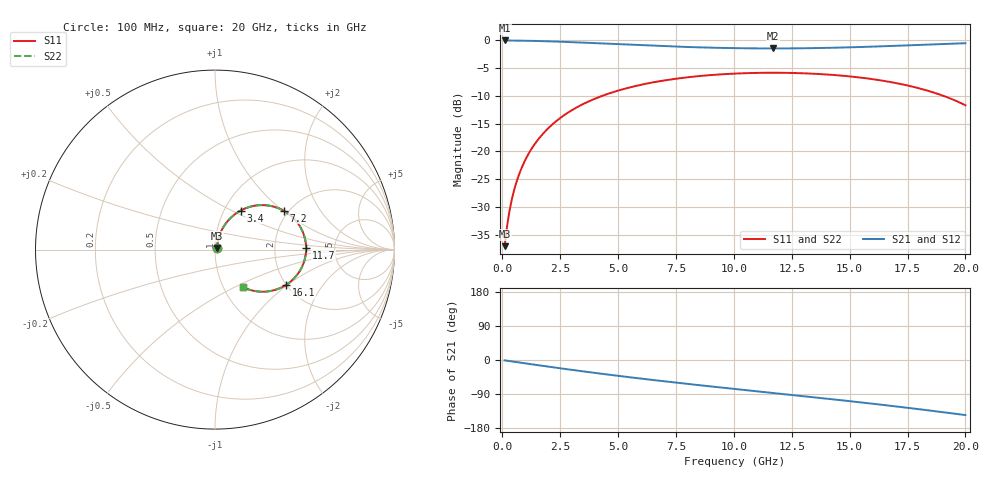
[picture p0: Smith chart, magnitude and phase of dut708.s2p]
! Touchstone file exported from HFSS 2026.1.0
!  File:  C:/ffzhzh/LocalFiles/Ansys_Project_Files/temp_train_TSV_RDL_708_1783199852_22436.aedt
!  Generated:  05:26:50 AM Jul  5, 2026
!  Design:  TSV_RDL
!  Project:  temp_train_TSV_RDL_708_1783199852_22436
! Variables:
!  h_bsmrdl = 5.48um
!  h_ox = 20um
!  h_rdl = 5um
!  h_sub = 55.71um
!  h_tmrdl = 5um
!  h_tsv = 55.71um
!  h_via = 3um
!  l_bsmrdl = 339.19um
!  l_sub = 2649.75um
!  l_tmrdl = 276.08um
!  m_sub = 200um
!  pitch = 45.02um
!  r_tsv = 3.86um
!  s_tmrdl = 10um
!  w_bsmrdl = 24.1um
!  w_sub = 500um
!  w_tmrdl = 18.52um
!  x_tsv_center1 = 285.34um
!  x_tsv_center2 = 648.63um
!  x_tsv_center3 = 943.23um
!  x_tsv_center4 = 1306.52um
!  x_tsv_center5 = 1601.12um
!  x_tsv_center6 = 1964.41um
# GHz S MA R 50.000000
! Terminal data exported
! Port[1] = TM_RDL1_1_T1
! Port[2] = TM_RDL5_1_T1
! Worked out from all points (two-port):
!   200 points, 100 MHz to 20 GHz, reference 50 ohm
!   highest |S21| = -0.10 dB at 100 MHz (marker M1); lowest = -1.5 dB at 11.7 GHz (marker M2)
!   |S21| within 3 dB of the highest: start of sweep to end of sweep
!   lowest |S11| = -37.0 dB at 100 MHz (marker M3), VSWR 1.03, Z = 51.1 + j0.899 ohm
!   |S11| at or under -10 dB: start of sweep to 4.34 GHz; 19.03 GHz to end of sweep
!   |S22| runs from -37.0 to -5.9 dB; largest |S21 - S12| = 3.2e-14
!   S11 on the Smith chart (normalised r, x): 100 MHz: 1.02, +0.02; 3.4 GHz: 1.19, +0.56; 7.2 GHz: 1.88, +1.01; 11.7 GHz: 3.06, +0.09; 16.1 GHz: 1.99, -0.97; 20 GHz: 1.23, -0.55
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0.1  0.01412 38.5  0.9891 -0.9  0.9891 -0.9  0.01412 38.5
! Gamma 0 0 0 0
! Port Impedance 50 0 50 0
0.2  0.02089 55.3  0.9885 -1.8  0.9885 -1.8  0.02089 55.3
0.3  0.0284 62.9  0.988 -2.7  0.988 -2.7  0.0284 62.9
0.5  0.04408 69.5  0.987 -4.5  0.987 -4.5  0.04408 69.5
0.8  0.06819 72.2  0.9851 -7.2  0.9851 -7.2  0.06819 72.2
1.1  0.09234 72.1  0.9827 -9.8  0.9827 -9.8  0.09234 72.1
1.6  0.1319 69.7  0.9773 -14.2  0.9773 -14.2  0.1319 69.7
2.1  0.17 66.4  0.9704 -18.5  0.9704 -18.5  0.17 66.4
2.7  0.2133 62.0  0.9605 -23.5  0.9605 -23.5  0.2133 62.0
3.4  0.2601 56.7  0.9475 -29.3  0.9475 -29.3  0.2601 56.7
3.5  0.2665 56.0  0.9455 -30.1  0.9455 -30.1  0.2665 56.0
5  0.3509 44.9  0.9155 -41.8  0.9155 -41.8  0.3509 44.9
6.8  0.4264 32.3  0.882 -54.8  0.882 -54.8  0.4264 32.3
7.2  0.4396 29.6  0.8755 -57.6  0.8755 -57.6  0.4396 29.6
8.7  0.4781 19.9  0.8553 -67.7  0.8553 -67.7  0.4781 19.9
10.1  0.4994 11.1  0.8434 -76.9  0.8434 -76.9  0.4994 11.1
11.7  0.5077 1.2  0.8385 -87.1  0.8385 -87.1  0.5077 1.2
13.4  0.498 -9.3  0.8438 -98.0  0.8438 -98.0  0.498 -9.3
16.1  0.4414 -26.6  0.8721 -116.1  0.8721 -116.1  0.4414 -26.6
16.7  0.4214 -30.6  0.881 -120.3  0.881 -120.3  0.4214 -30.6
18.5  0.3439 -43.0  0.9104 -133.6  0.9104 -133.6  0.3439 -43.0
20  0.2595 -53.4  0.9345 -145.4  0.9345 -145.4  0.2595 -53.5
